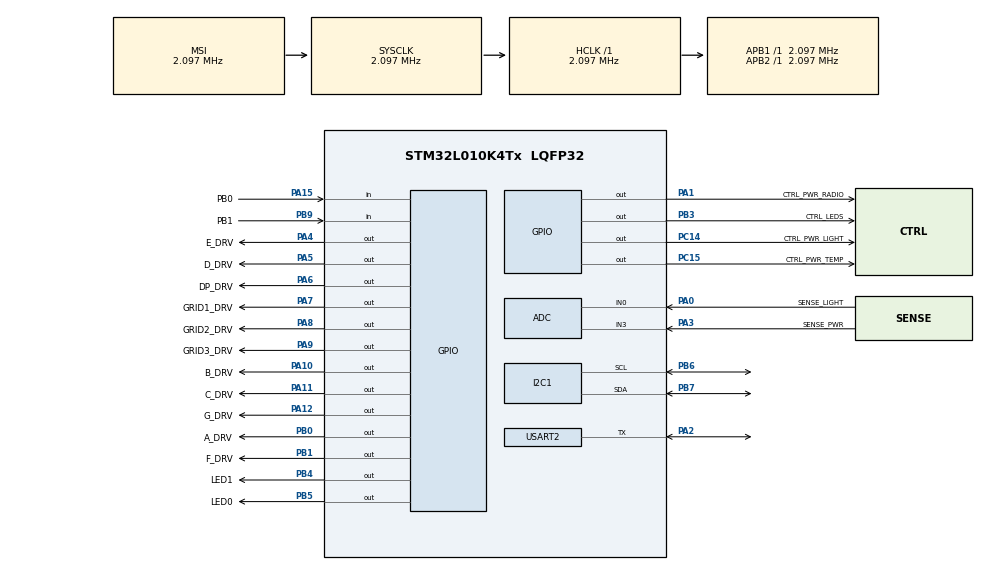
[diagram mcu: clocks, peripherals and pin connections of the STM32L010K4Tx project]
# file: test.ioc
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Mcu.Family=STM32L0
Mcu.Name=STM32L010K4Tx
Mcu.Package=LQFP32
PA0-CK_IN.GPIO_Label=SENSE_LIGHT
PA0-CK_IN.Mode=IN0
PA0-CK_IN.Signal=ADC_IN0
PA1.GPIO_Label=CTRL_PWR_RADIO
PA1.Signal=GPIO_Output
PA10.GPIO_Label=B_DRV
PA10.Signal=GPIO_Output
PA11.GPIO_Label=C_DRV
PA11.Signal=GPIO_Output
PA12.GPIO_Label=G_DRV
PA12.Signal=GPIO_Output
PA13.Mode=Serial_Wire
PA13.Signal=SYS_SWDIO
PA14.Mode=Serial_Wire
PA14.Signal=SYS_SWCLK
PA15.GPIO_Label=PB0
PA15.GPIO_PuPd=GPIO_PULLUP
PA15.Signal=GPIO_Input
PA2.Mode=Half_duplex(single_wire_mode)
PA2.Signal=USART2_TX
PA3.GPIO_Label=SENSE_PWR
PA3.Mode=IN3
PA3.Signal=ADC_IN3
PA4.GPIO_Label=E_DRV
PA4.Signal=GPIO_Output
PA5.GPIO_Label=D_DRV
PA5.Signal=GPIO_Output
PA6.GPIO_Label=DP_DRV
PA6.Signal=GPIO_Output
PA7.GPIO_Label=GRID1_DRV
PA7.Signal=GPIO_Output
PA8.GPIO_Label=GRID2_DRV
PA8.Signal=GPIO_Output
PA9.GPIO_Label=GRID3_DRV
PA9.Signal=GPIO_Output
PB0.GPIO_Label=A_DRV
PB0.Signal=GPIO_Output
PB1.GPIO_Label=F_DRV
PB1.Signal=GPIO_Output
PB3.GPIO_Label=CTRL_LEDS
PB3.PinState=GPIO_PIN_SET
PB3.Signal=GPIO_Output
PB4.GPIO_Label=LED1
PB4.Signal=GPIO_Output
PB5.GPIO_Label=LED0
PB5.PinState=GPIO_PIN_RESET
PB5.Signal=GPIO_Output
PB6.Mode=I2C
PB6.Signal=I2C1_SCL
PB7.Mode=I2C
PB7.Signal=I2C1_SDA
PB9-BOOT0.GPIO_Label=PB1
PB9-BOOT0.GPIO_PuPd=GPIO_PULLUP
PB9-BOOT0.Signal=GPIO_Input
PC14-OSC32_IN.GPIO_Label=CTRL_PWR_LIGHT
PC14-OSC32_IN.Signal=GPIO_Output
PC15-OSC32_OUT.GPIO_Label=CTRL_PWR_TEMP
PC15-OSC32_OUT.Signal=GPIO_Output
ProjectManager.HeapSize=0x200
ProjectManager.StackSize=0x400
ProjectManager.TargetToolchain=STM32CubeIDE
RCC.AHBFreq_Value=2097000
RCC.APB1Freq_Value=2097000
RCC.APB1TimFreq_Value=2097000
RCC.APB2Freq_Value=2097000
RCC.APB2TimFreq_Value=2097000
RCC.HSE_VALUE=8000000
RCC.HSI16_VALUE=16000000
RCC.HSI_VALUE=16000000
RCC.LSE_VALUE=32768
RCC.MSI_VALUE=2097000
RCC.SYSCLKFreq_VALUE=2097000
RCC.VCOOutputFreq_Value=48000000
USART2.BaudRate=1200
USART2.VirtualMode=VM_ASYNC
board=custom

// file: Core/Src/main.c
/* USER CODE BEGIN Header */
/**
  ******************************************************************************
  * @file           : main.c
  * @brief          : Main program body
  ******************************************************************************
  * @attention
  *
  * Copyright (c) 2024 STMicroelectronics.
  * All rights reserved.
  *
  * This software is licensed under terms that can be found in the LICENSE file
  * in the root directory of this software component.
  * If no LICENSE file comes with this software, it is provided AS-IS.
  *
  ******************************************************************************
  */
/* USER CODE END Header */
#include "main.h"
#include "adc.h"
#include "i2c.h"
#include "usart.h"
#include "gpio.h"

/* USER CODE BEGIN PTD */
//i2c commands and addresses defined in hex
#define I2C_ADDRESS  0xE0
#define SLEEP 0xB098
#define WAKE_UP 0x3517
#define MEASURE 0x5C24
#define DEVICE_ID 0

#define I2C_MEASURE_TIME 15 //times all in ms
#define I2C_WAKE_UP_TIME 1

#define READ_TIME 1000
#define DISPLAY_TIME 500

#define TX_START  73
#define TX_END    5
/* USER CODE END PTD */

/* USER CODE BEGIN PV */
uint16_t temp_val;
uint16_t humd_val;
uint16_t light_val; //do we need this for bird people?
uint16_t battery_val;
uint8_t sensor;
uint8_t data_buff[7];
uint8_t i2c_buff[6];
/* USER CODE END PV */

void SystemClock_Config(void);
/* USER CODE BEGIN PFP */
void display (uint8_t num, uint8_t digit);
void i2c_measure(void);
/* USER CODE END PFP */

int main(void)
{

  /* MCU Configuration--------------------------------------------------------*/

  /* Reset of all peripherals, Initializes the Flash interface and the Systick. */
  HAL_Init();

  /* Configure the system clock */
  SystemClock_Config();

  /* Initialize all configured peripherals */
  MX_GPIO_Init();
  MX_ADC_Init();
  MX_I2C1_Init();
  MX_USART2_UART_Init();

  /* Infinite loop */
  /* USER CODE BEGIN WHILE */
  while (1)
  {
	if(HAL_GPIO_ReadPin(PB0_GPIO_Port,PB0_Pin)==0) {
		HAL_GPIO_TogglePin(LED0_GPIO_Port,LED0_Pin);
	}
	if(HAL_GPIO_ReadPin(PB1_GPIO_Port,PB1_Pin)==0) {
			HAL_GPIO_TogglePin(LED1_GPIO_Port,LED1_Pin);
	}
	i2c_measure();
	HAL_Delay(1000);
	/*
	display(0,0);
	HAL_Delay(100);
	display(1,1);
	HAL_Delay(100);
	display(2,2);
	HAL_Delay(100);
	*/
    /* USER CODE END WHILE */

  }
}

void SystemClock_Config(void)
{
  RCC_OscInitTypeDef RCC_OscInitStruct = {0};
  RCC_ClkInitTypeDef RCC_ClkInitStruct = {0};
  RCC_PeriphCLKInitTypeDef PeriphClkInit = {0};

  /** Configure the main internal regulator output voltage
  */
  __HAL_PWR_VOLTAGESCALING_CONFIG(PWR_REGULATOR_VOLTAGE_SCALE1);

  /** Initializes the RCC Oscillators according to the specified parameters
  * in the RCC_OscInitTypeDef structure.
  */
  RCC_OscInitStruct.OscillatorType = RCC_OSCILLATORTYPE_MSI;
  RCC_OscInitStruct.MSIState = RCC_MSI_ON;
  RCC_OscInitStruct.MSICalibrationValue = 0;
  RCC_OscInitStruct.MSIClockRange = RCC_MSIRANGE_5;
  RCC_OscInitStruct.PLL.PLLState = RCC_PLL_NONE;
  if (HAL_RCC_OscConfig(&RCC_OscInitStruct) != HAL_OK)
  {
    Error_Handler();
  }

  /** Initializes the CPU, AHB and APB buses clocks
  */
  RCC_ClkInitStruct.ClockType = RCC_CLOCKTYPE_HCLK|RCC_CLOCKTYPE_SYSCLK
                              |RCC_CLOCKTYPE_PCLK1|RCC_CLOCKTYPE_PCLK2;
  RCC_ClkInitStruct.SYSCLKSource = RCC_SYSCLKSOURCE_MSI;
  RCC_ClkInitStruct.AHBCLKDivider = RCC_SYSCLK_DIV1;
  RCC_ClkInitStruct.APB1CLKDivider = RCC_HCLK_DIV1;
  RCC_ClkInitStruct.APB2CLKDivider = RCC_HCLK_DIV1;

  if (HAL_RCC_ClockConfig(&RCC_ClkInitStruct, FLASH_LATENCY_0) != HAL_OK)
  {
    Error_Handler();
  }
  PeriphClkInit.PeriphClockSelection = RCC_PERIPHCLK_USART2|RCC_PERIPHCLK_I2C1;
  PeriphClkInit.Usart2ClockSelection = RCC_USART2CLKSOURCE_PCLK1;
  PeriphClkInit.I2c1ClockSelection = RCC_I2C1CLKSOURCE_PCLK1;
  if (HAL_RCCEx_PeriphCLKConfig(&PeriphClkInit) != HAL_OK)
  {
    Error_Handler();
  }
}

/* USER CODE BEGIN 4 */

void i2c_measure() {
	uint16_t temp = WAKE_UP;
	HAL_I2C_Master_Transmit(&hi2c1,I2C_ADDRESS,&temp,2,1000);
	HAL_Delay(I2C_WAKE_UP_TIME);
	temp = MEASURE;
	HAL_I2C_Master_Transmit(&hi2c1,I2C_ADDRESS,&temp,2,1000);
	HAL_Delay(I2C_MEASURE_TIME);
	HAL_I2C_Master_Receive(&hi2c1,I2C_ADDRESS,i2c_buff,6,1000);
	temp = SLEEP;
	HAL_I2C_Master_Transmit(&hi2c1,I2C_ADDRESS,&temp,2,1000);
}

void display (uint8_t num, uint8_t digit) {
  HAL_GPIO_WritePin(GRID1_DRV_GPIO_Port,GRID1_DRV_Pin, RESET);
  HAL_GPIO_WritePin(GRID2_DRV_GPIO_Port,GRID2_DRV_Pin, RESET);
  HAL_GPIO_WritePin(GRID3_DRV_GPIO_Port,GRID3_DRV_Pin, RESET);
  switch(num) {
  case 0:
    HAL_GPIO_WritePin(A_DRV_GPIO_Port,A_DRV_Pin, SET);;
    HAL_GPIO_WritePin(B_DRV_GPIO_Port,B_DRV_Pin, SET);;
    HAL_GPIO_WritePin(C_DRV_GPIO_Port,C_DRV_Pin, SET);;
    HAL_GPIO_WritePin(D_DRV_GPIO_Port,D_DRV_Pin, SET);;
    HAL_GPIO_WritePin(E_DRV_GPIO_Port,E_DRV_Pin, SET);;
    HAL_GPIO_WritePin(F_DRV_GPIO_Port,F_DRV_Pin, SET);;
    HAL_GPIO_WritePin(G_DRV_GPIO_Port,G_DRV_Pin, RESET);;
  break;
  case 1:
    HAL_GPIO_WritePin(A_DRV_GPIO_Port,A_DRV_Pin, RESET);;
    HAL_GPIO_WritePin(B_DRV_GPIO_Port,B_DRV_Pin, SET);;
    HAL_GPIO_WritePin(C_DRV_GPIO_Port,C_DRV_Pin, SET);;
    HAL_GPIO_WritePin(D_DRV_GPIO_Port,D_DRV_Pin, RESET);;
    HAL_GPIO_WritePin(E_DRV_GPIO_Port,E_DRV_Pin, RESET);;
    HAL_GPIO_WritePin(F_DRV_GPIO_Port,F_DRV_Pin, RESET);;
    HAL_GPIO_WritePin(G_DRV_GPIO_Port,G_DRV_Pin, RESET);;
  break;
  case 2:
    HAL_GPIO_WritePin(A_DRV_GPIO_Port,A_DRV_Pin, SET);;
    HAL_GPIO_WritePin(B_DRV_GPIO_Port,B_DRV_Pin, SET);;
    HAL_GPIO_WritePin(C_DRV_GPIO_Port,C_DRV_Pin, RESET);;
    HAL_GPIO_WritePin(D_DRV_GPIO_Port,D_DRV_Pin, SET);;
    HAL_GPIO_WritePin(E_DRV_GPIO_Port,E_DRV_Pin, SET);;
    HAL_GPIO_WritePin(F_DRV_GPIO_Port,F_DRV_Pin, RESET);;
    HAL_GPIO_WritePin(G_DRV_GPIO_Port,G_DRV_Pin, SET);;
  break;
  case 3:
    HAL_GPIO_WritePin(A_DRV_GPIO_Port,A_DRV_Pin, SET);;
    HAL_GPIO_WritePin(B_DRV_GPIO_Port,B_DRV_Pin, SET);;
    HAL_GPIO_WritePin(C_DRV_GPIO_Port,C_DRV_Pin, SET);;
    HAL_GPIO_WritePin(D_DRV_GPIO_Port,D_DRV_Pin, SET);;
    HAL_GPIO_WritePin(E_DRV_GPIO_Port,E_DRV_Pin, RESET);;
    HAL_GPIO_WritePin(F_DRV_GPIO_Port,F_DRV_Pin, RESET);;
    HAL_GPIO_WritePin(G_DRV_GPIO_Port,G_DRV_Pin, SET);;
  break;
  case 4:
    HAL_GPIO_WritePin(A_DRV_GPIO_Port,A_DRV_Pin, RESET);;
    HAL_GPIO_WritePin(B_DRV_GPIO_Port,B_DRV_Pin, SET);;
    HAL_GPIO_WritePin(C_DRV_GPIO_Port,C_DRV_Pin, SET);;
    HAL_GPIO_WritePin(D_DRV_GPIO_Port,D_DRV_Pin, RESET);;
    HAL_GPIO_WritePin(E_DRV_GPIO_Port,E_DRV_Pin, RESET);;
    HAL_GPIO_WritePin(F_DRV_GPIO_Port,F_DRV_Pin, SET);;
    HAL_GPIO_WritePin(G_DRV_GPIO_Port,G_DRV_Pin, SET);;
  break;
  case 5:
    HAL_GPIO_WritePin(A_DRV_GPIO_Port,A_DRV_Pin, SET);;
    HAL_GPIO_WritePin(B_DRV_GPIO_Port,B_DRV_Pin, RESET);;
    HAL_GPIO_WritePin(C_DRV_GPIO_Port,C_DRV_Pin, SET);;
    HAL_GPIO_WritePin(D_DRV_GPIO_Port,D_DRV_Pin, SET);;
    HAL_GPIO_WritePin(E_DRV_GPIO_Port,E_DRV_Pin, RESET);;
    HAL_GPIO_WritePin(F_DRV_GPIO_Port,F_DRV_Pin, SET);;
    HAL_GPIO_WritePin(G_DRV_GPIO_Port,G_DRV_Pin, SET);;
  break;
  case 6:
    HAL_GPIO_WritePin(A_DRV_GPIO_Port,A_DRV_Pin, SET);;
    HAL_GPIO_WritePin(B_DRV_GPIO_Port,B_DRV_Pin, RESET);;
    HAL_GPIO_WritePin(C_DRV_GPIO_Port,C_DRV_Pin, SET);;
    HAL_GPIO_WritePin(D_DRV_GPIO_Port,D_DRV_Pin, SET);;
    HAL_GPIO_WritePin(E_DRV_GPIO_Port,E_DRV_Pin, SET);;
    HAL_GPIO_WritePin(F_DRV_GPIO_Port,F_DRV_Pin, SET);;
    HAL_GPIO_WritePin(G_DRV_GPIO_Port,G_DRV_Pin, SET);;
  break;
  case 7:
    HAL_GPIO_WritePin(A_DRV_GPIO_Port,A_DRV_Pin, SET);;
    HAL_GPIO_WritePin(B_DRV_GPIO_Port,B_DRV_Pin, SET);;
    HAL_GPIO_WritePin(C_DRV_GPIO_Port,C_DRV_Pin, SET);;
    HAL_GPIO_WritePin(D_DRV_GPIO_Port,D_DRV_Pin, RESET);;
    HAL_GPIO_WritePin(E_DRV_GPIO_Port,E_DRV_Pin, RESET);;
    HAL_GPIO_WritePin(F_DRV_GPIO_Port,F_DRV_Pin, RESET);;
    HAL_GPIO_WritePin(G_DRV_GPIO_Port,G_DRV_Pin, RESET);;
  break;
  case 8:
    HAL_GPIO_WritePin(A_DRV_GPIO_Port,A_DRV_Pin, SET);;
    HAL_GPIO_WritePin(B_DRV_GPIO_Port,B_DRV_Pin, SET);;
    HAL_GPIO_WritePin(C_DRV_GPIO_Port,C_DRV_Pin, SET);;
    HAL_GPIO_WritePin(D_DRV_GPIO_Port,D_DRV_Pin, SET);;
    HAL_GPIO_WritePin(E_DRV_GPIO_Port,E_DRV_Pin, SET);;
    HAL_GPIO_WritePin(F_DRV_GPIO_Port,F_DRV_Pin, SET);;
    HAL_GPIO_WritePin(G_DRV_GPIO_Port,G_DRV_Pin, SET);;
  break;
  case 9:
    HAL_GPIO_WritePin(A_DRV_GPIO_Port,A_DRV_Pin, SET);;
    HAL_GPIO_WritePin(B_DRV_GPIO_Port,B_DRV_Pin, SET);;
    HAL_GPIO_WritePin(C_DRV_GPIO_Port,C_DRV_Pin, SET);;
    HAL_GPIO_WritePin(D_DRV_GPIO_Port,D_DRV_Pin, RESET);;
    HAL_GPIO_WritePin(E_DRV_GPIO_Port,E_DRV_Pin, RESET);;
    HAL_GPIO_WritePin(F_DRV_GPIO_Port,F_DRV_Pin, SET);;
    HAL_GPIO_WritePin(G_DRV_GPIO_Port,G_DRV_Pin, SET);;
  break;
  default:
   HAL_GPIO_WritePin(A_DRV_GPIO_Port,A_DRV_Pin, RESET);;
    HAL_GPIO_WritePin(B_DRV_GPIO_Port,B_DRV_Pin, RESET);;
    HAL_GPIO_WritePin(C_DRV_GPIO_Port,C_DRV_Pin, RESET);;
    HAL_GPIO_WritePin(D_DRV_GPIO_Port,D_DRV_Pin, RESET);;
    HAL_GPIO_WritePin(E_DRV_GPIO_Port,E_DRV_Pin, RESET);;
    HAL_GPIO_WritePin(F_DRV_GPIO_Port,F_DRV_Pin, RESET);;
    HAL_GPIO_WritePin(G_DRV_GPIO_Port,G_DRV_Pin, RESET);;
  break;}
   if (digit == 1) {
	   HAL_GPIO_WritePin(GRID1_DRV_GPIO_Port,GRID1_DRV_Pin, RESET);
	   HAL_GPIO_WritePin(GRID2_DRV_GPIO_Port,GRID2_DRV_Pin, SET);
	   HAL_GPIO_WritePin(GRID3_DRV_GPIO_Port,GRID3_DRV_Pin, RESET);
    //digitalWrite(DP, HIGH);
  } else if (digit == 2) {
	  HAL_GPIO_WritePin(GRID1_DRV_GPIO_Port,GRID1_DRV_Pin, RESET);
	  HAL_GPIO_WritePin(GRID2_DRV_GPIO_Port,GRID2_DRV_Pin, RESET);
	  HAL_GPIO_WritePin(GRID3_DRV_GPIO_Port,GRID3_DRV_Pin, SET);
    //digitalWrite(DP, LOW);
  } else {
	  HAL_GPIO_WritePin(GRID1_DRV_GPIO_Port,GRID1_DRV_Pin, SET);
	  HAL_GPIO_WritePin(GRID2_DRV_GPIO_Port,GRID2_DRV_Pin, RESET);
	  HAL_GPIO_WritePin(GRID3_DRV_GPIO_Port,GRID3_DRV_Pin, RESET);
	//digitalWrite(DP, LOW);
  }
}
/* USER CODE END 4 */

void Error_Handler(void)
{
  __disable_irq();
  while (1)
  {
  }
}
